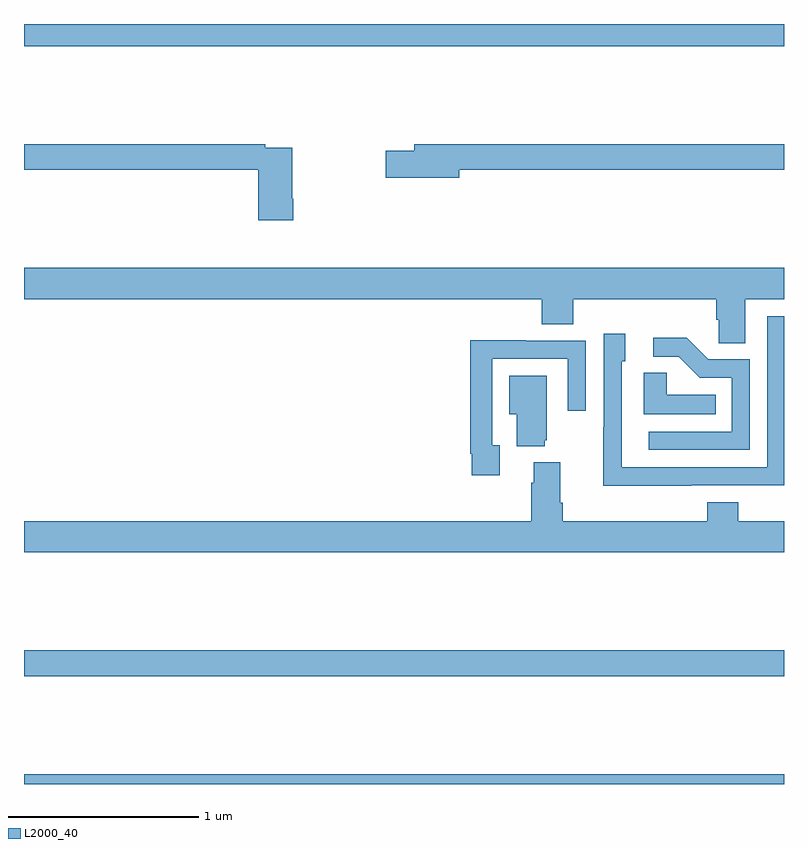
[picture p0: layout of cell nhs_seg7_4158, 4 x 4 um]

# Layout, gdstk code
import gdstk
lib = gdstk.Library(unit=1e-6, precision=1e-09)
def R(c, l, rs):  # rectangles x0, y0, x1, y1
    for r in rs: c.add(gdstk.rectangle(r[:2], r[2:], *l))
def P(c, l, *ps):  # polygons
    for p in ps: c.add(gdstk.Polygon(p, *l))
L2000_40 = (2000, 40)

nhs_seg7_4158 = lib.new_cell('nhs_seg7_4158')
R(nhs_seg7_4158, L2000_40, [(373,1062,377,1062.052), (373,1062.568,377,1062.704), (373,1065.884,377,1066)])
P(nhs_seg7_4158, L2000_40, [(374.417,1065.079),(374.412,1065.079),(374.412,1065.348),(374.27,1065.348),(374.27,1065.368),(373,1065.368),(373,1065.232),(374.234,1065.232),(374.234,1064.967),(374.417,1064.967)],
  [(375.292,1065.232),(377,1065.232),(377,1065.368),(375.053,1065.368),(375.053,1065.332),(374.904,1065.332),(374.904,1065.19),(375.292,1065.19)],
  [(376.795,1064.552),(377,1064.552),(377,1064.716),(373,1064.716),(373,1064.552),(375.725,1064.552),(375.725,1064.419),(375.89,1064.419),(375.89,1064.552),(376.643,1064.552),(376.643,1064.443),(376.656,1064.443),(376.656,1064.32),(376.795,1064.32)],
  [(376.511,1063.572),(377,1063.572),(377,1064.463),(376.911,1064.463),(376.911,1063.668),(376.146,1063.668),(376.146,1064.226),(376.165,1064.226),(376.165,1064.371),(376.05,1064.371),(376.05,1063.877),(376.048,1063.877),(376.048,1063.571),(376.511,1063.571)],
  [(376.821,1064.235),(376.602,1064.235),(376.489,1064.348),(376.311,1064.348),(376.311,1064.25),(376.445,1064.25),(376.556,1064.139),(376.725,1064.139),(376.725,1063.854),(376.287,1063.854),(376.287,1063.758),(376.821,1063.758)],
  [(375.505,1063.782),(375.465,1063.782),(375.465,1064.238),(375.861,1064.238),(375.861,1063.965),(375.957,1063.965),(375.957,1064.334),(375.641,1064.334),(375.641,1064.336),(375.349,1064.336),(375.349,1063.738),(375.357,1063.738),(375.357,1063.626),(375.505,1063.626)],
  [(376.64,1064.05),(376.383,1064.05),(376.383,1064.165),(376.262,1064.165),(376.262,1063.946),(376.64,1063.946)],
  [(375.74,1063.809),(375.751,1063.809),(375.751,1064.149),(375.554,1064.149),(375.554,1063.946),(375.593,1063.946),(375.593,1063.778),(375.74,1063.778)],
  [(377,1063.384),(376.76,1063.384),(376.76,1063.483),(376.595,1063.483),(376.595,1063.384),(375.836,1063.384),(375.836,1063.48),(375.823,1063.48),(375.823,1063.693),(375.683,1063.693),(375.683,1063.586),(375.671,1063.586),(375.671,1063.384),(373,1063.384),(373,1063.22),(377,1063.22)])

lib.write_gds('nhs_seg7_4158.gds')
